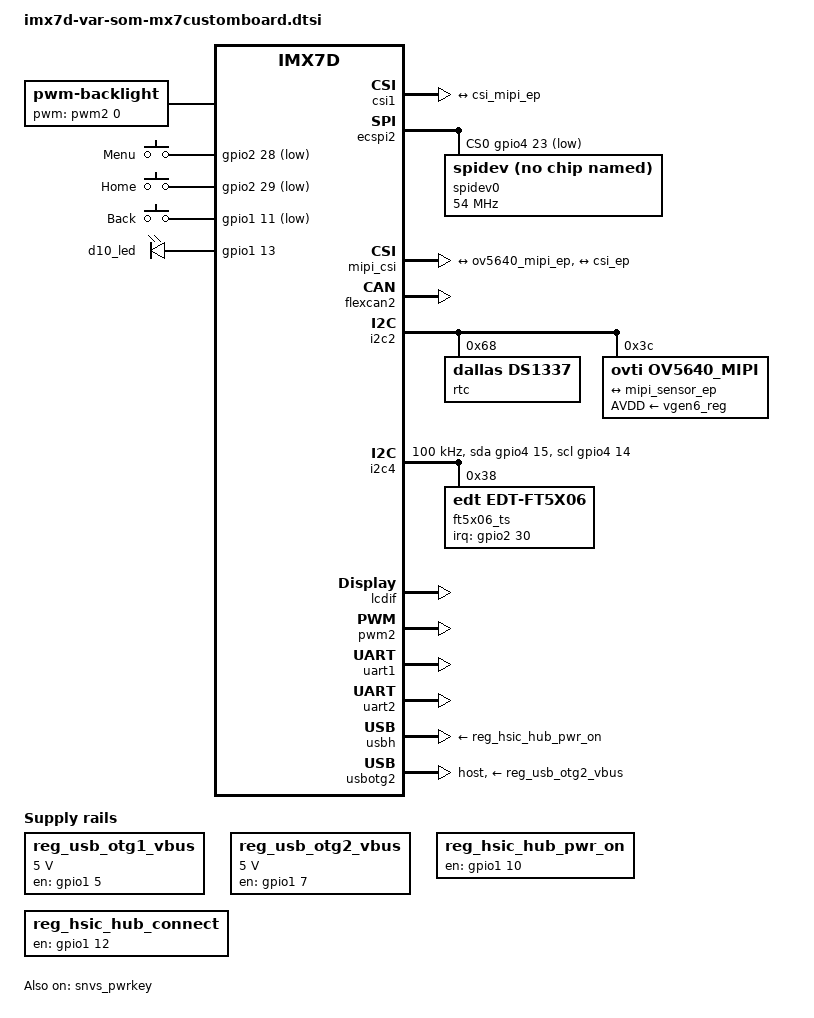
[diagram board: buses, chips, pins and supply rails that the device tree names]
// SPDX-License-Identifier: GPL-2.0+ OR MIT
//
// Copyright (C) 2016-2022 Variscite Ltd.

/ {
	chosen {
		stdout-path = &uart1;
	};

	backlight {
		compatible = "pwm-backlight";
		pwms = <&pwm2 0 5000000 0>;
		brightness-levels = <0 4 8 16 32 64 128 255>;
		default-brightness-level = <7>;
		status = "okay";
	};

	gpio-keys {
		compatible = "gpio-keys";
		pinctrl-names = "default";
		pinctrl-0 = <&pinctrl_gpio_keys>;

		menu {
			label = "Menu";
			gpios = <&gpio2 28 GPIO_ACTIVE_LOW>;
			linux,code = <KEY_MENU>;
		};

		home {
			label = "Home";
			gpios = <&gpio2 29 GPIO_ACTIVE_LOW>;
			linux,code = <KEY_HOME>;
		};

		back {
			label = "Back";
			gpios = <&gpio1 11 GPIO_ACTIVE_LOW>;
			linux,code = <KEY_BACK>;
		};
	};

	gpio-leds {
		compatible = "gpio-leds";
		pinctrl-names = "default";
		pinctrl-0 = <&pinctrl_gpio_leds>;

		d10_led {
			gpios = <&gpio1 13 GPIO_ACTIVE_HIGH>;
			linux,default-trigger = "heartbeat";
		};
	};

	reg_usb_otg1_vbus: reg-usb-otg1-vbus {
		pinctrl-names = "default";
		pinctrl-0 = <&pinctrl_usbotg1_pwr>;
		compatible = "regulator-fixed";
		regulator-name = "usb_otg1_vbus";
		regulator-min-microvolt = <5000000>;
		regulator-max-microvolt = <5000000>;
		gpio = <&gpio1 5 GPIO_ACTIVE_HIGH>;
		enable-active-high;
	};

	reg_usb_otg2_vbus: reg-usb-otg2-vbus {
		pinctrl-names = "default";
		pinctrl-0 = <&pinctrl_usbotg2_pwr>;
		compatible = "regulator-fixed";
		regulator-name = "usb_otg2_vbus";
		regulator-min-microvolt = <5000000>;
		regulator-max-microvolt = <5000000>;
		gpio = <&gpio1 7 GPIO_ACTIVE_HIGH>;
		enable-active-high;
	};

	reg_hsic_hub_pwr_on: reg_hsic_hub_pwr_on {
		pinctrl-names = "default";
		pinctrl-0 = <&pinctrl_hsic_hub_pwr>;
		compatible = "regulator-fixed";
		regulator-name = "hsic_hub_pwr_on";
		gpio = <&gpio1 10 GPIO_ACTIVE_HIGH>;
		enable-active-high;
		regulator-always-on;
		status = "okay";
	};

	reg_hsic_hub_connect: reg_hsic_hub_connect {
		pinctrl-names = "default";
		pinctrl-0 = <&pinctrl_hsic_hub_connect>;
		compatible = "regulator-fixed";
		regulator-name = "reg_hsic_hub_connect";
		gpio = <&gpio1 12 GPIO_ACTIVE_HIGH>;
		enable-active-high;
		regulator-always-on;
		status = "okay";
	};
};

&clks {
	assigned-clocks = <&clks IMX7D_PLL_AUDIO_POST_DIV>;
	assigned-clock-rates = <884736000>;
};

&csi1 {
	csi-mux-mipi = <&gpr 0x14 4>;
	fsl,mipi-mode;
	status = "okay";

	port {
		csi_ep: endpoint {
			remote-endpoint = <&csi_mipi_ep>;
		};
	};
};

&ecspi2 {
	fsl,spi-num-chipselects = <1>;
	pinctrl-names = "default", "sleep";
	pinctrl-0 = <&pinctrl_ecspi2>;
	cs-gpios = <&gpio4 23 GPIO_ACTIVE_LOW>;
	status = "okay";

	spidev0: spi@0 {
		compatible = "var,spidev";
		reg = <0>;
		spi-max-frequency = <54000000>;
	};
};

&mipi_csi {
	clock-frequency = <240000000>;
	status = "okay";
	port {
		mipi_sensor_ep: endpoint@1 {
			remote-endpoint = <&ov5640_mipi_ep>;
			data-lanes = <2>;
			csis-hs-settle = <13>;
			csis-clk-settle = <2>;
			csis-wclk;
		};

		csi_mipi_ep: endpoint@2 {
			remote-endpoint = <&csi_ep>;
		};
	};
};

&flexcan2 {
	pinctrl-names = "default";
	pinctrl-0 = <&pinctrl_flexcan2>;
	status = "okay";
};

&i2c2 {
	/* DS1337 RTC module */
	rtc@68 {
		compatible = "dallas,ds1337";
		reg = <0x68>;
	};

	ov5640_mipi: ov5640_mipi@3c {
		pinctrl-names = "default";
		pinctrl-0 = <&pinctrl_ov5640>;
		compatible = "ovti,ov5640_mipi";
		reg = <0x3c>;
		clocks = <&clks IMX7D_CLKO2_ROOT_CG>;
		clock-names = "csi_mclk";
		csi_id = <0>;
		AVDD-supply = <&vgen6_reg>;
		mclk = <24000000>;
		mclk_source = <0>;
		uyvy-fmt;
		port {
			ov5640_mipi_ep: endpoint {
				remote-endpoint = <&mipi_sensor_ep>;
			};
		};
	};
};

&i2c4 {
	clock-frequency = <100000>;
	pinctrl-names = "default", "gpio";
	pinctrl-0 = <&pinctrl_i2c4>;
	pinctrl-1 = <&pinctrl_i2c4_gpio>;
	scl-gpios = <&gpio4 14 GPIO_ACTIVE_HIGH>;
	sda-gpios = <&gpio4 15 GPIO_ACTIVE_HIGH>;
	status = "okay";

	ft5x06_ts@38 {
		pinctrl-names = "default";
		pinctrl-0 = <&pinctrl_touch>;
		compatible = "edt,edt-ft5x06";
		reg = <0x38>;
		interrupt-parent = <&gpio2>;
		interrupts = <30 0>;
		touchscreen-size-x = <800>;
		touchscreen-size-y = <480>;
		touchscreen-inverted-x;
		touchscreen-inverted-y;
	};
};

&lcdif {
	pinctrl-names = "default";
	pinctrl-0 = <&pinctrl_lcdif_dat
		     &pinctrl_lcdif_ctrl>;
	display = <&display0>;
	status = "okay";

	display0: display0 {
		bits-per-pixel = <32>;
		bus-width = <24>;

		display-timings {
			native-mode = <&timing0>;
			timing0: timing0 {
				clock-frequency = <29232000>;
				hactive = <800>;
				vactive = <480>;
				hfront-porch = <40>;
				hback-porch = <40>;
				hsync-len = <48>;
				vback-porch = <29>;
				vfront-porch = <13>;
				vsync-len = <3>;
				hsync-active = <0>;
				vsync-active = <0>;
				de-active = <1>;
				pixelclk-active = <0>;
			};
		};
	};
};

&pcie {
	pinctrl-names = "default";
	pinctrl-0 = <&pinctrl_pcie>;
	reset-gpio = <&gpio2 31 GPIO_ACTIVE_LOW>;
	status = "disabled";
};

&sai2 {
	pinctrl-names = "default";
	pinctrl-0 = <&pinctrl_sai2>;
	assigned-clocks = <&clks IMX7D_SAI2_ROOT_SRC>,
			  <&clks IMX7D_SAI2_ROOT_CLK>;
	assigned-clock-parents = <&clks IMX7D_PLL_AUDIO_POST_DIV>;
	assigned-clock-rates = <0>, <36864000>;
	status = "disabled";
};

&pwm2 {
	pinctrl-names = "default";
	pinctrl-0 = <&pinctrl_pwm2>;
	status = "okay";
};

/* DEBUG */
&uart1 {
	pinctrl-names = "default", "sleep";
	pinctrl-0 = <&pinctrl_uart1>;
	pinctrl-1 = <&pinctrl_uart1_sleep>;
	assigned-clocks = <&clks IMX7D_UART1_ROOT_SRC>;
	assigned-clock-parents = <&clks IMX7D_OSC_24M_CLK>;
	status = "okay";
};

&uart2 {
	pinctrl-names = "default";
	pinctrl-0 = <&pinctrl_uart2>;
	assigned-clocks = <&clks IMX7D_UART2_ROOT_SRC>;
	assigned-clock-parents = <&clks IMX7D_OSC_24M_CLK>;
	uart-has-rtscts;
	status = "okay";
};

&usbh {
	status = "okay";
	vbus-supply = <&reg_hsic_hub_pwr_on>;
};

&usbotg1 {
	vbus-supply = <&reg_usb_otg1_vbus>;
	dr_mode = "host";
	status = "disabled";
};

&usbotg2 {
	vbus-supply = <&reg_usb_otg2_vbus>;
	dr_mode = "host";
	status = "okay";
};

&usdhc1 {
	status = "disabled";
}

&snvs_rtc {
	status = "disabled";
};

&snvs_pwrkey {
	status = "okay";
};

&snvs_poweroff {
	status = "okay";
};
